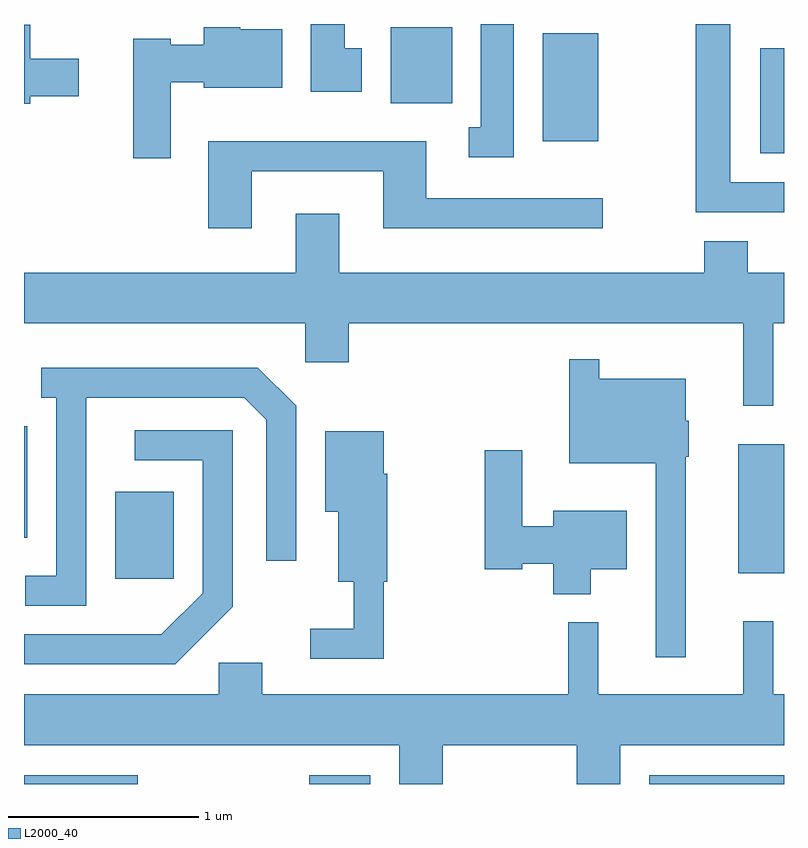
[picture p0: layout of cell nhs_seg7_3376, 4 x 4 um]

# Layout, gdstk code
import gdstk
lib = gdstk.Library(unit=1e-6, precision=1e-09)
def R(c, l, rs):  # rectangles x0, y0, x1, y1
    for r in rs: c.add(gdstk.rectangle(r[:2], r[2:], *l))
def P(c, l, *ps):  # polygons
    for p in ps: c.add(gdstk.Polygon(p, *l))
L2000_40 = (2000, 40)

nhs_seg7_3376 = lib.new_cell('nhs_seg7_3376')
R(nhs_seg7_3376, L2000_40, [(287.611,1796.252,288.209,1796.299), (289.113,1796.252,289.434,1796.299), (290.901,1796.252,291.611,1796.299), (288.091,1797.331,288.399,1797.789), (291.371,1797.361,291.611,1798.039), (287.611,1797.548,287.629,1798.134), (291.486,1799.571,291.611,1800.124), (290.341,1799.636,290.634,1800.204), (289.541,1799.836,289.864,1800.234)])
P(nhs_seg7_3376, L2000_40, [(289.389,1800.124),(289.299,1800.124),(289.299,1800.252),(289.121,1800.252),(289.121,1799.896),(289.389,1799.896)],
  [(291.611,1799.419),(291.329,1799.419),(291.329,1800.252),(291.146,1800.252),(291.146,1799.261),(291.611,1799.261)],
  [(290.189,1800.252),(290.016,1800.252),(290.016,1799.709),(289.953,1799.709),(289.953,1799.551),(290.189,1799.551)],
  [(287.644,1799.871),(287.899,1799.871),(287.899,1800.069),(287.644,1800.069),(287.644,1800.249),(287.611,1800.249),(287.611,1799.831),(287.644,1799.831)],
  [(288.384,1799.946),(288.556,1799.946),(288.556,1799.916),(288.969,1799.916),(288.969,1800.224),(288.75,1800.224),(288.75,1800.234),(288.556,1800.234),(288.556,1800.144),(288.384,1800.144),(288.384,1800.174),(288.186,1800.174),(288.186,1799.546),(288.384,1799.546)],
  [(288.809,1799.476),(289.501,1799.476),(289.501,1799.176),(290.658,1799.176),(290.658,1799.334),(289.729,1799.334),(289.729,1799.634),(288.581,1799.634),(288.581,1799.176),(288.809,1799.176)],
  [(291.554,1798.676),(291.611,1798.676),(291.611,1798.944),(291.419,1798.944),(291.419,1799.109),(291.191,1799.109),(291.191,1798.944),(289.269,1798.944),(289.269,1799.254),(289.041,1799.254),(289.041,1798.944),(287.611,1798.944),(287.611,1798.676),(289.091,1798.676),(289.091,1798.471),(289.319,1798.471),(289.319,1798.676),(291.396,1798.676),(291.396,1798.243),(291.554,1798.243)],
  [(291.094,1797.975),(291.109,1797.975),(291.109,1798.165),(291.094,1798.165),(291.094,1798.384),(290.639,1798.384),(290.639,1798.488),(290.481,1798.488),(290.481,1797.941),(290.936,1797.941),(290.936,1796.918),(291.094,1796.918)],
  [(287.939,1798.286),(288.769,1798.286),(288.886,1798.169),(288.886,1797.428),(289.044,1797.428),(289.044,1798.242),(288.842,1798.444),(287.703,1798.444),(287.703,1798.286),(287.781,1798.286),(287.781,1797.349),(287.618,1797.349),(287.618,1797.191),(287.939,1797.191)],
  [(288.709,1797.184),(288.709,1798.114),(288.193,1798.114),(288.193,1797.956),(288.551,1797.956),(288.551,1797.257),(288.334,1797.039),(287.611,1797.039),(287.611,1796.881),(288.407,1796.881)],
  [(289.504,1797.316),(289.524,1797.316),(289.524,1797.884),(289.504,1797.884),(289.504,1798.109),(289.196,1798.109),(289.196,1797.686),(289.266,1797.686),(289.266,1797.316),(289.346,1797.316),(289.346,1797.069),(289.118,1797.069),(289.118,1796.911),(289.504,1796.911)],
  [(290.594,1797.381),(290.784,1797.381),(290.784,1797.689),(290.396,1797.689),(290.396,1797.609),(290.234,1797.609),(290.234,1798.009),(290.036,1798.009),(290.036,1797.381),(290.234,1797.381),(290.234,1797.411),(290.396,1797.411),(290.396,1797.251),(290.594,1797.251)],
  [(289.814,1796.456),(290.521,1796.456),(290.521,1796.252),(290.749,1796.252),(290.749,1796.456),(291.611,1796.456),(291.611,1796.724),(291.554,1796.724),(291.554,1797.108),(291.396,1797.108),(291.396,1796.724),(290.634,1796.724),(290.634,1797.103),(290.476,1797.103),(290.476,1796.724),(288.864,1796.724),(288.864,1796.889),(288.636,1796.889),(288.636,1796.724),(287.611,1796.724),(287.611,1796.456),(289.586,1796.456),(289.586,1796.252),(289.814,1796.252)])

lib.write_gds('nhs_seg7_3376.gds')
